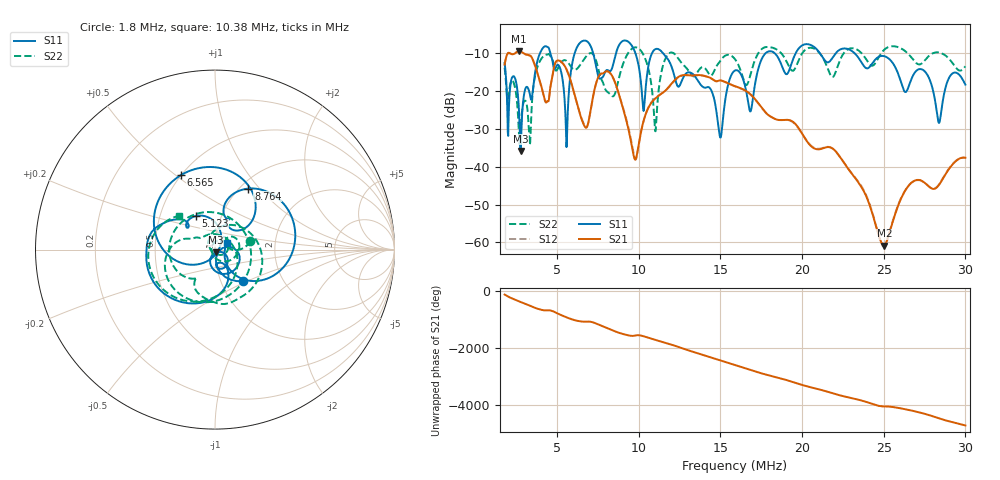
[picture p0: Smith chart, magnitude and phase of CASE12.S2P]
!Agilent Technologies,E5061B,MY49101568,A.02.00
!Date: Wed Mar 01 16:34:12 2023
!Data & Calibration Information:
!Freq	S11:SOLT2(OFF)	S21:SOLT2(OFF)	S12:SOLT2(OFF)	S22:SOLT2(OFF)
# Hz S dB R 50
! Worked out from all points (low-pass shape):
!   1155 points, 1.8 MHz to 30 MHz, reference 50 ohm
!   highest |S21| = -9.48 dB at 2.68 MHz (marker M1); lowest = -60.9 dB at 25.04 MHz (marker M2)
!   |S21| within 3 dB of the highest: 1.824 MHz to 3.594 MHz (1.77 MHz wide, 65.4 % of centre); 4.918 MHz to 5.307 MHz (389.2 kHz wide, 7.61 % of centre)
!   lowest |S11| = -35.8 dB at 2.777 MHz (marker M3), VSWR 1.03, Z = 50.7 - j1.47 ohm
!   |S11| at or under -10 dB: start of sweep to 3.968 MHz; 11.49 MHz to 17.78 MHz (6.289 MHz wide, 43 % of centre); 23.21 MHz to end of sweep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
!   |S22| runs from -34.2 to -8.2 dB; largest |S21 - S12| = 0.0039
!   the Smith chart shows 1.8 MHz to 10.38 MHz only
!   S11 on the Smith chart (normalised r, x): 1.8 MHz: 1.27, -0.47; 5.123 MHz: 0.75, +0.30; 6.565 MHz: 0.50, +0.52; 8.764 MHz: 1.09, +0.87; 10.38 MHz: 1.14, +0.08
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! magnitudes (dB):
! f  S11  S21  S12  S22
! 1.8 MHz  -12.6  -13.0  -13.1  -13.9
! 2.68 MHz  -25.2  -9.5  -9.5  -31.6
! 2.777 MHz  -35.8  -9.6  -9.6  -30.6
! 4.366 MHz  -8.3  -23.0  -23.0  -10.4
! 5.123 MHz  -13.3  -12.0  -11.9  -13.5
! 5.588 MHz  -34.8  -14.3  -14.3  -12.1
! 6.516 MHz  -6.9  -27.5  -27.3  -12.5
! 6.565 MHz  -6.8  -28.1  -27.8  -12.2
! 8.764 MHz  -8.2  -20.4  -20.4  -17.2
! 9.766 MHz  -9.6  -38.0  -37.8  -8.5
! 10.38 MHz  -22.3  -26.8  -26.8  -11.2
! 11.21 MHz  -9.0  -21.3  -21.2  -20.6
! 11.89 MHz  -12.3  -18.7  -18.8  -10.0
! 15 MHz  -32.3  -17.2  -17.2  -12.1
! 15.9 MHz  -14.6  -18.7  -18.8  -11.6
! 16.83 MHz  -25.4  -20.8  -20.9  -15.9
! 17.76 MHz  -10.1  -25.6  -25.6  -8.4
! 20.62 MHz  -8.0  -34.8  -34.7  -8.6
! 25.04 MHz  -10.8  -60.9  -60.8  -9.1
! 25.31 MHz  -11.4  -58.2  -57.9  -8.4
! 28.39 MHz  -28.5  -44.8  -44.6  -9.8
! 30 MHz  -18.3  -37.6  -37.6  -13.5
